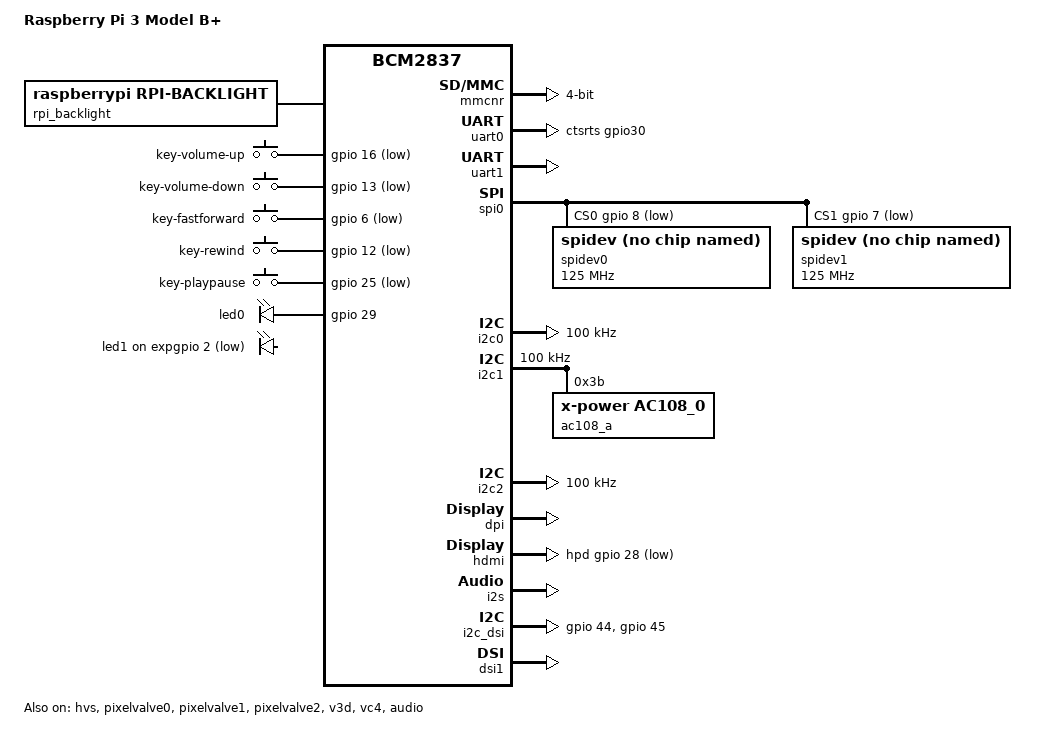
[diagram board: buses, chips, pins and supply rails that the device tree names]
/dts-v1/;

#ifdef RPI364_OPTEE
/memreserve/ 0x08000000 0x02000000;
#endif

#include "bcm2710.dtsi"
#include "bcm283x-rpi-lan7515.dtsi"
#include "bcm283x-rpi-csi1-2lane.dtsi"
#include <dt-bindings/input/input.h>

/ {
	compatible = "raspberrypi,3-model-b-plus", "brcm,bcm2837";
	model = "Raspberry Pi 3 Model B+";

	chosen {
		bootargs = "coherent_pool=1M 8250.nr_uarts=1";
	};

	aliases {
		serial0 = &uart1;
		serial1 = &uart0;
		mmc1 = &mmcnr;
	};

	rpi_backlight: rpi_backlight {
		compatible = "raspberrypi,rpi-backlight";
		firmware = <&firmware>;
		status = "okay";
	};

	rpi_ft5406: rpi_ft5406 {
		compatible = "rpi,rpi-ft5406";
		firmware = <&firmware>;
		status = "okay";
	};

	gpio-keys {
		compatible = "gpio-keys";

		key-volume-up {
			lable = "volume-up";
			linux,code = <KEY_VOLUMEUP>;
			gpios = <&gpio 16 GPIO_ACTIVE_LOW>;
		};

		key-volume-down {
			lable = "volume-down";
			linux,code = <KEY_VOLUMEDOWN>;
			gpios = <&gpio 13 GPIO_ACTIVE_LOW>;
		};

		key-fastforward {
			lable = "fastforward";
			linux,code = <KEY_FASTFORWARD>;
			gpios = <&gpio 6 GPIO_ACTIVE_LOW>;
		};

		key-rewind {
			lable = "rewind";
			linux,code = <KEY_REWIND>;
			gpios = <&gpio 12 GPIO_ACTIVE_LOW>;
		};

		key-playpause {
			lable = "playpause";
			linux,code = <KEY_PLAYPAUSE>;
			gpios = <&gpio 25 GPIO_ACTIVE_LOW>;
		};
	};
};

&gpio {
	spi0_pins: spi0_pins {
		brcm,pins = <9 10 11>;
		brcm,function = <4>; /* alt0 */
	};

	spi0_cs_pins: spi0_cs_pins {
		brcm,pins = <8 7>;
		brcm,function = <1>; /* output */
	};

	i2c0_pins: i2c0 {
		brcm,pins = <0 1>;
		brcm,function = <4>;
	};

	i2c1_pins: i2c1 {
		brcm,pins = <2 3>;
		brcm,function = <4>;
	};

	i2s_pins: i2s {
		brcm,pins = <18 19 20 21>;
		brcm,function = <4>; /* alt0 */
	};

	sdio_pins: sdio_pins {
		brcm,pins =     <34 35 36 37 38 39>;
		brcm,function = <7>; // alt3 = SD1
		brcm,pull =     <0 2 2 2 2 2>;
	};

	bt_pins: bt_pins {
		brcm,pins = <43>;
		brcm,function = <4>; /* alt0:GPCLK2 */
		brcm,pull = <0>;
	};

	uart0_pins: uart0_pins {
		brcm,pins = <32 33>;
		brcm,function = <7>; /* alt3=UART0 */
		brcm,pull = <0 2>;
	};

	uart1_pins: uart1_pins {
		brcm,pins;
		brcm,function;
		brcm,pull;
	};

	audio_pins: audio_pins {
		brcm,pins = <40 41>;
		brcm,function = <4>;
	};

	/* Needs to describe gpio settings at config.txt */
	key_volume_up: key_volume_up {
		brcm,pins = <16>;
		brcm,function = <1>; /* BCM2835_FSEL_GPIO_IN */
		brcm,pull = <2>; /* BCM2835_PUD_UP */
	};

	key_volume_down: key_volume_down {
		brcm,pins = <13>;
		brcm,function = <1>;
		brcm,pull = <2>;
	};

	key_fastforward: key_fastforward {
		brcm,pins = <6>;
		brcm,function = <1>;
		brcm,pull = <2>;
	};

	key_rewind: key_rewind {
		brcm,pins = <12>;
		brcm,function = <1>;
		brcm,pull = <2>;
	};

	key_playpause: key_playpause {
		brcm,pins = <25>;
		brcm,function = <1>;
		brcm,pull = <2>;
	};
};

&mmcnr {
	pinctrl-names = "default";
	pinctrl-0 = <&sdio_pins>;
	bus-width = <4>;
	status = "okay";
};

&firmware {
	expgpio: expgpio {
		compatible = "raspberrypi,firmware-gpio";
		gpio-controller;
		#gpio-cells = <2>;
		status = "okay";
	};
};

&uart0 {
	pinctrl-names = "default";
	pinctrl-0 = <&uart0_ctsrts_gpio30 &uart0_pins &bt_pins>;
	status = "okay";
};

&uart1 {
	pinctrl-names = "default";
	pinctrl-0 = <&uart1_pins>;
	status = "okay";
};

&spi0 {
	pinctrl-names = "default";
	pinctrl-0 = <&spi0_pins &spi0_cs_pins>;
	cs-gpios = <&gpio 8 1>, <&gpio 7 1>;
	status = "okay";

	spidev0: spidev@0{
		compatible = "spidev";
		reg = <0>;	/* CE0 */
		#address-cells = <1>;
		#size-cells = <0>;
		spi-max-frequency = <125000000>;
	};

	spidev1: spidev@1{
		compatible = "spidev";
		reg = <1>;	/* CE1 */
		#address-cells = <1>;
		#size-cells = <0>;
		spi-max-frequency = <125000000>;
	};
};

&i2c0 {
	pinctrl-names = "default";
	pinctrl-0 = <&i2c0_pins>;
	clock-frequency = <100000>;
};

&i2c1 {
	pinctrl-names = "default";
	pinctrl-0 = <&i2c1_pins>;
	clock-frequency = <100000>;
	status = "okay";

	#address-cells = <1>;
	#size-cells = <0>;

	ac108_a: ac108@3b{
		compatible = "x-power,ac108_0";
		reg = <0x3b>;
		#sound-dai-cells = <0>;
		data-protocol = <0>;
	};
};

&i2c2 {
	clock-frequency = <100000>;
	status = "okay";
};

&dpi {
	status = "okay";
};

&hvs {
	status = "okay";
};

&pixelvalve0 {
	status = "okay";
};

&pixelvalve1 {
	status = "okay";
};

&pixelvalve2 {
	status = "okay";
};

&hdmi {
	status = "okay";
};

&v3d {
	status = "okay";
};

&vc4 {
	status = "okay";
};

&i2s {
	pinctrl-names = "default";
	pinctrl-0 = <&i2s_pins>;

	#sound-dai-cells = <0>;
	status = "okay";
};

&leds {
	act_led: act {
		label = "led0";
		linux,default-trigger = "mmc0";
		gpios = <&gpio 29 0>;
	};

	pwr_led: pwr {
		label = "led1";
		linux,default-trigger = "default-on";
		gpios = <&expgpio 2 GPIO_ACTIVE_LOW>;
	};
};

&hdmi {
	hpd-gpios = <&gpio 28 GPIO_ACTIVE_LOW>;
};

&audio {
	pinctrl-names = "default";
	pinctrl-0 = <&audio_pins>;
	status = "okay";
};

&sound {
	compatible = "seeed-voicecard";
	seeed-voice-card,format = "dsp_a";
	seeed-voice-card,name = "seeed-4mic-voicecard";
	status = "okay";

	seeed-voice-card,bitclock-master = <&codec_dai>;
	seeed-voice-card,frame-master = <&codec_dai>;
	seeed-voice-card,channels-playback-override = <4>;
	seeed-voice-card,channels-capture-override  = <4>;

	cpu_dai: seeed-voice-card,cpu {
		sound-dai = <&i2s>;
		dai-tdm-slot-num     = <2>;
		dai-tdm-slot-width   = <32>;
		dai-tdm-slot-tx-mask = <1 1 0 0>;
		dai-tdm-slot-rx-mask = <1 1 0 0>;
	};
	codec_dai: seeed-voice-card,codec {
		sound-dai = <&ac108_a>;
		system-clock-frequency = <24000000>;
	};
};

/ {
	__overrides__ {
		act_led_gpio = <&act_led>,"gpios:4";
		act_led_activelow = <&act_led>,"gpios:8";
		act_led_trigger = <&act_led>,"linux,default-trigger";

		pwr_led_gpio = <&pwr_led>,"gpios:4";
		pwr_led_activelow = <&pwr_led>,"gpios:8";
		pwr_led_trigger = <&pwr_led>,"linux,default-trigger";
	};
};

&i2c_dsi {
	gpios = <&gpio 44 0
		 &gpio 45 0>;
	status = "okay";
};

&dsi1 {
	#address-cells = <1>;
	#size-cells = <0>;
	status = "okay";
};
